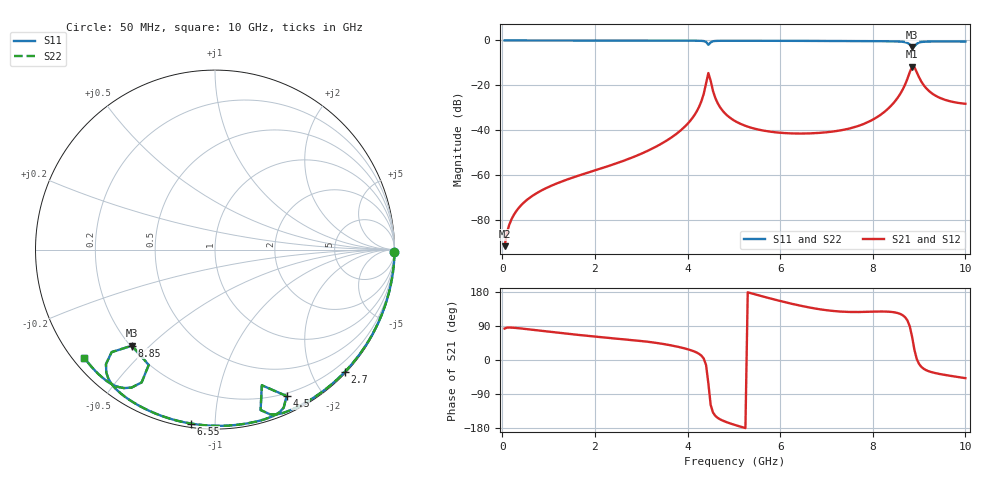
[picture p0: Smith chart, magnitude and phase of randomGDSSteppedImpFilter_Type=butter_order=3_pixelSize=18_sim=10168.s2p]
! freq	dB(S11)	phase(S11)	dB(S12)	phase(S12)
!  dB(S21)	phase(S21)	dB(S22)	phase(S22)
!S-par simulation data
#  GHz  S  DB  R 50
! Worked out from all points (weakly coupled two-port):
!   200 points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, 50 MHz to 10 GHz, reference 50 ohm
!   highest |S21| = -11.67 dB at 8.85 GHz (marker M1); lowest = -91.4 dB at 50 MHz (marker M2)
!   lowest |S11| = -3.0 dB at 8.85 GHz (marker M3), VSWR 5.83, Z = 10.3 - j22.1 ohm
!   |S11| at or under -10 dB: nowhere
!   |S22| runs from -3.0 to 0.0 dB; largest |S21 - S12| = 0
!   S11 on the Smith chart (normalised r, x): 50 MHz: open; 2.7 GHz: 0.02, -2.52; 4.5 GHz: 0.17, -1.59; 6.55 GHz: 0.02, -0.87; 8.85 GHz: 0.21, -0.44; 10 GHz: 0.03, -0.36
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0.05  -0.00 -0.8  -91.42 83.0  -91.42 83.0  -0.00 -0.8
0.2  -0.00 -3.3  -79.43 85.4  -79.43 85.4  -0.00 -3.3
0.75  -0.01 -12.3  -67.76 78.4  -67.76 78.4  -0.01 -12.3
1.75  -0.04 -28.3  -59.37 64.9  -59.37 64.9  -0.04 -28.3
2.7  -0.06 -43.3  -52.87 54.0  -52.87 54.0  -0.06 -43.3
3.4  -0.07 -54.1  -46.31 43.8  -46.31 43.8  -0.07 -54.1
4.05  -0.10 -64.4  -35.90 26.7  -35.90 26.7  -0.10 -64.4
4.3  -0.18 -69.7  -26.98 11.4  -26.98 11.4  -0.18 -69.7
4.45  -1.94 -71.0  -14.47 -62.1  -14.47 -62.1  -1.94 -71.0
4.5  -0.84 -63.9  -17.94 -118.8  -17.94 -118.8  -0.84 -64.0
4.7  -0.15 -70.9  -29.60 -156.4  -29.60 -156.4  -0.15 -70.9
5.05  -0.13 -76.9  -36.10 -172.4  -36.10 -172.4  -0.13 -76.9
6.55  -0.19 -98.0  -41.35 140.5  -41.35 140.5  -0.19 -98.0
6.7  -0.20 -100.0  -41.25 137.0  -41.25 137.0  -0.20 -100.0
7.7  -0.27 -113.5  -37.91 126.6  -37.91 126.6  -0.27 -113.5
8.35  -0.37 -123.0  -29.94 127.4  -29.94 127.4  -0.37 -123.0
8.6  -0.52 -128.2  -23.50 121.2  -23.50 121.2  -0.52 -128.2
8.75  -1.09 -133.6  -16.94 104.0  -16.94 104.0  -1.10 -133.6
8.85  -3.01 -130.8  -11.67 60.7  -11.67 60.7  -3.02 -130.8
9  -0.93 -121.2  -16.40 -10.6  -16.40 -10.6  -0.93 -121.2
9.3  -0.46 -129.7  -23.84 -33.0  -23.84 -33.0  -0.46 -129.7
10  -0.49 -140.3  -28.14 -48.0  -28.14 -48.0  -0.49 -140.3
